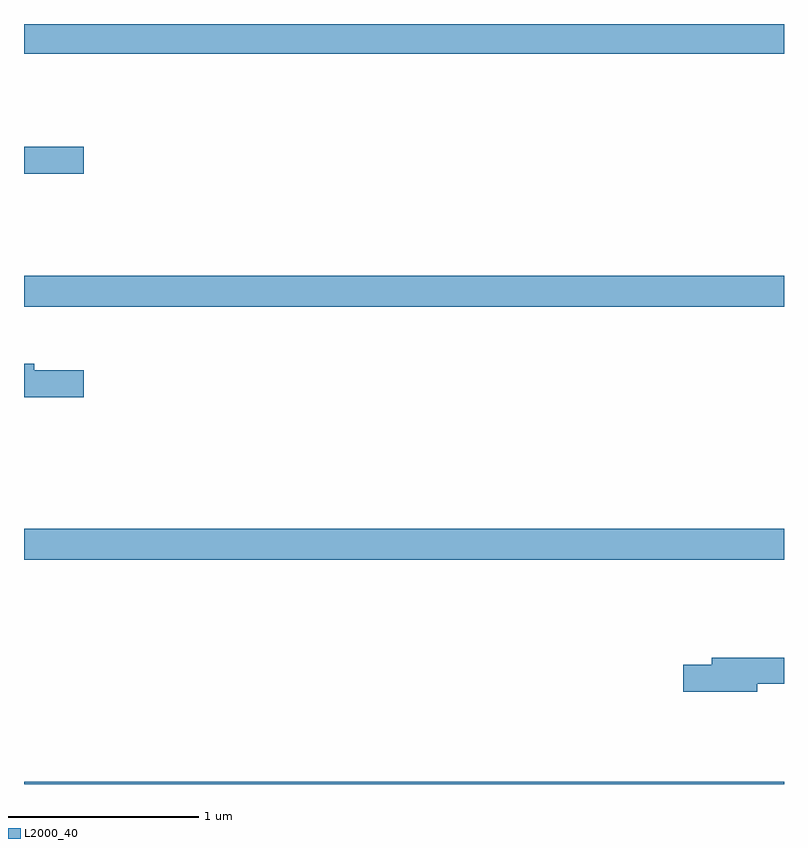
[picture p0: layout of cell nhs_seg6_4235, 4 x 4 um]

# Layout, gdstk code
import gdstk
lib = gdstk.Library(unit=1e-6, precision=1e-09)
def R(c, l, rs):  # rectangles x0, y0, x1, y1
    for r in rs: c.add(gdstk.rectangle(r[:2], r[2:], *l))
def P(c, l, *ps):  # polygons
    for p in ps: c.add(gdstk.Polygon(p, *l))
L2000_40 = (2000, 40)

nhs_seg6_4235 = lib.new_cell('nhs_seg6_4235')
R(nhs_seg6_4235, L2000_40, [(361,935.5,365,935.512), (361,936.68,365,936.844), (361,938.012,365,938.176), (361,938.711,361.315,938.853), (361,939.344,365,939.5)])
P(nhs_seg6_4235, L2000_40, [(361.315,937.677),(361.054,937.677),(361.054,937.711),(361,937.711),(361,937.535),(361.315,937.535)],
  [(364.858,936.028),(365,936.028),(365,936.164),(364.619,936.164),(364.619,936.128),(364.47,936.128),(364.47,935.986),(364.858,935.986)])

lib.write_gds('nhs_seg6_4235.gds')
